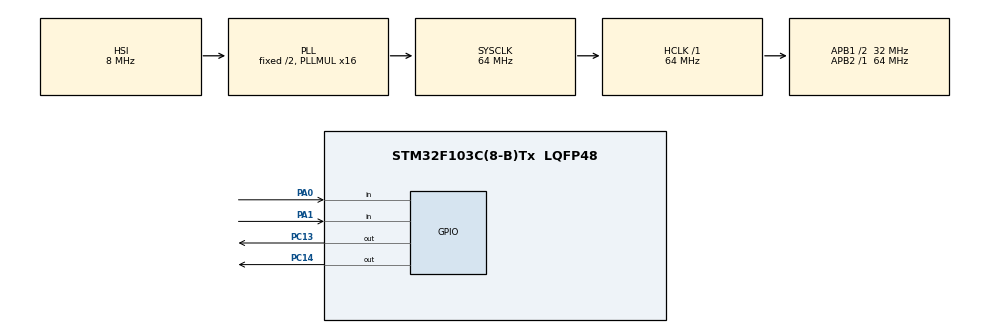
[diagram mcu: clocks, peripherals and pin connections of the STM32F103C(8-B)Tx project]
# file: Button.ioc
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Mcu.Family=STM32F1
Mcu.Name=STM32F103C(8-B)Tx
Mcu.Package=LQFP48
NVIC.PriorityGroup=NVIC_PRIORITYGROUP_4
PA0-WKUP.GPIO_PuPd=GPIO_PULLUP
PA0-WKUP.Signal=GPIO_Input
PA1.GPIO_PuPd=GPIO_PULLUP
PA1.Signal=GPIO_Input
PA13.Mode=Serial_Wire
PA13.Signal=SYS_JTMS-SWDIO
PA14.Mode=Serial_Wire
PA14.Signal=SYS_JTCK-SWCLK
PC13-TAMPER-RTC.Signal=GPIO_Output
PC14-OSC32_IN.Signal=GPIO_Output
PD0-OSC_IN.Mode=HSE-External-Oscillator
PD0-OSC_IN.Signal=RCC_OSC_IN
PD1-OSC_OUT.Mode=HSE-External-Oscillator
PD1-OSC_OUT.Signal=RCC_OSC_OUT
ProjectManager.HeapSize=0x200
ProjectManager.StackSize=0x400
ProjectManager.TargetToolchain=MDK-ARM V5.32
RCC.AHBFreq_Value=64000000
RCC.APB1CLKDivider=RCC_HCLK_DIV2
RCC.APB1Freq_Value=32000000
RCC.APB1TimFreq_Value=64000000
RCC.APB2Freq_Value=64000000
RCC.APB2TimFreq_Value=64000000
RCC.HCLKFreq_Value=64000000
RCC.PLLMUL=RCC_PLL_MUL16
RCC.SYSCLKFreq_VALUE=64000000
RCC.SYSCLKSource=RCC_SYSCLKSOURCE_PLLCLK
RCC.USBFreq_Value=64000000
board=custom

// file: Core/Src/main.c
/* USER CODE BEGIN Header */
/**
  ******************************************************************************
  * @file           : main.c
  * @brief          : Main program body
  ******************************************************************************
  * @attention
  *
  * <h2><center>&copy; Copyright (c) 2021 STMicroelectronics.
  * All rights reserved.</center></h2>
  *
  * This software component is licensed by ST under BSD 3-Clause license,
  * the "License"; You may not use this file except in compliance with the
  * License. You may obtain a copy of the License at:
  *                        opensource.org/licenses/BSD-3-Clause
  *
  ******************************************************************************
  */
/* USER CODE END Header */
#include "main.h"

/* USER CODE BEGIN Includes */
#include "Button.h"
/* USER CODE END Includes */

void SystemClock_Config(void);
static void MX_GPIO_Init(void);

/* USER CODE BEGIN 0 */

//----------------var led-----------
Button_Typdef button1;
Button_Typdef button2;

typedef enum
{
	LED_OFF,
	LED1_BLINK_1HZ ,
	LED2_BLINK_5HZ,
}LedStatus;

LedStatus led_status;

void btn_pressing_callback(Button_Typdef *ButtonX)
{
	if(ButtonX == &button1)
	{
		switch(led_status)
		{
			case LED_OFF:
				led_status = LED1_BLINK_1HZ;
			break;
			case LED1_BLINK_1HZ:
				led_status = LED2_BLINK_5HZ;
			break;
			case LED2_BLINK_5HZ:
				led_status = LED_OFF;
			break;
			default:
				break;
		}
	}
	else if(ButtonX == &button2)
	{

	}
}

void led1Blink1Hz()
{
	static uint32_t tled1_blink;
	if(HAL_GetTick() - tled1_blink >= 500)
	{
		HAL_GPIO_TogglePin(GPIOC,GPIO_PIN_13);
		tled1_blink = HAL_GetTick();
	}
}
void led2Blink5Hz()
{
	static uint32_t tled1_blink;
	if(HAL_GetTick() - tled1_blink >= 100)
	{
		HAL_GPIO_TogglePin(GPIOC,GPIO_PIN_14);
		tled1_blink = HAL_GetTick();
	}
}
void led_off()
{
	HAL_GPIO_WritePin(GPIOC,GPIO_PIN_13,GPIO_PIN_SET);
	HAL_GPIO_WritePin(GPIOC,GPIO_PIN_14,GPIO_PIN_RESET);
}
void led_handle()
{
	switch(led_status)
	{
		case LED_OFF:
			led_off();
		break;
		case LED1_BLINK_1HZ:
			led1Blink1Hz();
		break;
		case LED2_BLINK_5HZ:
			led2Blink5Hz();
		break;
	}
}
/* USER CODE END 0 */

int main(void)
{

  /* MCU Configuration--------------------------------------------------------*/

  /* Reset of all peripherals, Initializes the Flash interface and the Systick. */
  HAL_Init();

  /* Configure the system clock */
  SystemClock_Config();

  /* Initialize all configured peripherals */
  MX_GPIO_Init();
  /* USER CODE BEGIN 2 */
	button_init(&button1,GPIOA,GPIO_PIN_0);
	button_init(&button2,GPIOA,GPIO_PIN_1);
  /* USER CODE END 2 */

  /* Infinite loop */
  while (1)
  {

    /* USER CODE BEGIN 3 */
		button_handle(&button1);
		button_handle(&button2);
		led_handle();
  }
  /* USER CODE END 3 */
}

void SystemClock_Config(void)
{
  RCC_OscInitTypeDef RCC_OscInitStruct = {0};
  RCC_ClkInitTypeDef RCC_ClkInitStruct = {0};

  /** Initializes the RCC Oscillators according to the specified parameters
  * in the RCC_OscInitTypeDef structure.
  */
  RCC_OscInitStruct.OscillatorType = RCC_OSCILLATORTYPE_HSI;
  RCC_OscInitStruct.HSIState = RCC_HSI_ON;
  RCC_OscInitStruct.HSICalibrationValue = RCC_HSICALIBRATION_DEFAULT;
  RCC_OscInitStruct.PLL.PLLState = RCC_PLL_ON;
  RCC_OscInitStruct.PLL.PLLSource = RCC_PLLSOURCE_HSI_DIV2;
  RCC_OscInitStruct.PLL.PLLMUL = RCC_PLL_MUL16;
  if (HAL_RCC_OscConfig(&RCC_OscInitStruct) != HAL_OK)
  {
    Error_Handler();
  }

  /** Initializes the CPU, AHB and APB buses clocks
  */
  RCC_ClkInitStruct.ClockType = RCC_CLOCKTYPE_HCLK|RCC_CLOCKTYPE_SYSCLK
                              |RCC_CLOCKTYPE_PCLK1|RCC_CLOCKTYPE_PCLK2;
  RCC_ClkInitStruct.SYSCLKSource = RCC_SYSCLKSOURCE_PLLCLK;
  RCC_ClkInitStruct.AHBCLKDivider = RCC_SYSCLK_DIV1;
  RCC_ClkInitStruct.APB1CLKDivider = RCC_HCLK_DIV2;
  RCC_ClkInitStruct.APB2CLKDivider = RCC_HCLK_DIV1;

  if (HAL_RCC_ClockConfig(&RCC_ClkInitStruct, FLASH_LATENCY_2) != HAL_OK)
  {
    Error_Handler();
  }
}

static void MX_GPIO_Init(void)
{
  GPIO_InitTypeDef GPIO_InitStruct = {0};

  /* GPIO Ports Clock Enable */
  __HAL_RCC_GPIOC_CLK_ENABLE();
  __HAL_RCC_GPIOD_CLK_ENABLE();
  __HAL_RCC_GPIOA_CLK_ENABLE();

  /*Configure GPIO pin Output Level */
  HAL_GPIO_WritePin(GPIOC, GPIO_PIN_13|GPIO_PIN_14, GPIO_PIN_RESET);

  /*Configure GPIO pins : PC13 PC14 */
  GPIO_InitStruct.Pin = GPIO_PIN_13|GPIO_PIN_14;
  GPIO_InitStruct.Mode = GPIO_MODE_OUTPUT_PP;
  GPIO_InitStruct.Pull = GPIO_NOPULL;
  GPIO_InitStruct.Speed = GPIO_SPEED_FREQ_LOW;
  HAL_GPIO_Init(GPIOC, &GPIO_InitStruct);

  /*Configure GPIO pins : PA0 PA1 */
  GPIO_InitStruct.Pin = GPIO_PIN_0|GPIO_PIN_1;
  GPIO_InitStruct.Mode = GPIO_MODE_INPUT;
  GPIO_InitStruct.Pull = GPIO_PULLUP;
  HAL_GPIO_Init(GPIOA, &GPIO_InitStruct);

}

void Error_Handler(void)
{
  __disable_irq();
  while (1)
  {
  }
}
